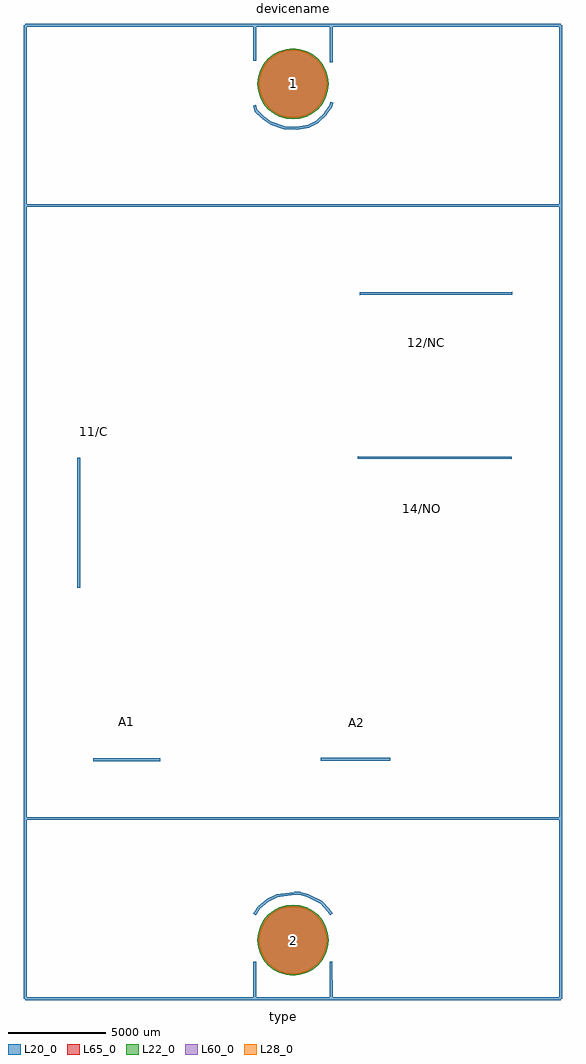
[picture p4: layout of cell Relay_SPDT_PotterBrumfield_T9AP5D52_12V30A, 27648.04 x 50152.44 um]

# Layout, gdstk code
import gdstk
lib = gdstk.Library(unit=1e-6, precision=1e-09)
def P(c, l, *ps):  # polygons
    for p in ps: c.add(gdstk.Polygon(p, *l))
L20_0 = (20, 0)
L22_0 = (22, 0)
L28_0 = (28, 0)
L60_0 = (60, 0)
L65_0 = (65, 0)

relay_spdt_potterbrumfie = lib.new_cell('Relay_SPDT_PotterBrumfield_T9AP5D52_12V30A')
P(relay_spdt_potterbrumfie, L22_0, [(1825.06,-21998.94),(1789.992,-21642.888),(1686.136,-21300.52),(1517.482,-20984.991),(1290.512,-20708.428),(1013.949,-20481.458),(698.42,-20312.804),(356.052,-20208.948),(0,-20173.88),(-356.052,-20208.948),(-698.42,-20312.804),(-1013.949,-20481.458),(-1290.512,-20708.428),(-1517.482,-20984.991),(-1686.136,-21300.52),(-1789.992,-21642.888),(-1825.06,-21998.94),(-1789.992,-22354.992),(-1686.136,-22697.36),(-1517.482,-23012.889),(-1290.512,-23289.452),(-1013.949,-23516.422),(-698.42,-23685.076),(-356.052,-23788.932),(0,-23824),(356.052,-23788.932),(698.42,-23685.076),(1013.949,-23516.422),(1290.512,-23289.452),(1517.482,-23012.889),(1686.136,-22697.36),(1789.992,-22354.992)],
  [(1825.06,21998.94),(1789.992,22354.992),(1686.136,22697.36),(1517.482,23012.889),(1290.512,23289.452),(1013.949,23516.422),(698.42,23685.076),(356.052,23788.932),(0,23824),(-356.052,23788.932),(-698.42,23685.076),(-1013.949,23516.422),(-1290.512,23289.452),(-1517.482,23012.889),(-1686.136,22697.36),(-1789.992,22354.992),(-1825.06,21998.94),(-1789.992,21642.888),(-1686.136,21300.52),(-1517.482,20984.991),(-1290.512,20708.428),(-1013.949,20481.458),(-698.42,20312.804),(-356.052,20208.948),(0,20173.88),(356.052,20208.948),(698.42,20312.804),(1013.949,20481.458),(1290.512,20708.428),(1517.482,20984.991),(1686.136,21300.52),(1789.992,21642.888)])
P(relay_spdt_potterbrumfie, L28_0, [(1750.06,-21998.94),(1716.433,-21657.52),(1616.845,-21329.221),(1455.122,-21026.659),(1237.479,-20761.461),(972.281,-20543.818),(669.719,-20382.095),(341.42,-20282.507),(0,-20248.88),(-341.42,-20282.507),(-669.719,-20382.095),(-972.281,-20543.818),(-1237.479,-20761.461),(-1455.122,-21026.659),(-1616.845,-21329.221),(-1716.433,-21657.52),(-1750.06,-21998.94),(-1716.433,-22340.36),(-1616.845,-22668.659),(-1455.122,-22971.221),(-1237.479,-23236.419),(-972.281,-23454.062),(-669.719,-23615.785),(-341.42,-23715.373),(0,-23749),(341.42,-23715.373),(669.719,-23615.785),(972.281,-23454.062),(1237.479,-23236.419),(1455.122,-22971.221),(1616.845,-22668.659),(1716.433,-22340.36)],
  [(1750.06,21998.94),(1716.433,22340.36),(1616.845,22668.659),(1455.122,22971.221),(1237.479,23236.419),(972.281,23454.062),(669.719,23615.785),(341.42,23715.373),(0,23749),(-341.42,23715.373),(-669.719,23615.785),(-972.281,23454.062),(-1237.479,23236.419),(-1455.122,22971.221),(-1616.845,22668.659),(-1716.433,22340.36),(-1750.06,21998.94),(-1716.433,21657.52),(-1616.845,21329.221),(-1455.122,21026.659),(-1237.479,20761.461),(-972.281,20543.818),(-669.719,20382.095),(-341.42,20282.507),(0,20248.88),(341.42,20282.507),(669.719,20382.095),(972.281,20543.818),(1237.479,20761.461),(1455.122,21026.659),(1616.845,21329.221),(1716.433,21657.52)])
P(relay_spdt_potterbrumfie, L60_0, [(1750.06,-21998.94),(1716.433,-21657.52),(1616.845,-21329.221),(1455.122,-21026.659),(1237.479,-20761.461),(972.281,-20543.818),(669.719,-20382.095),(341.42,-20282.507),(0,-20248.88),(-341.42,-20282.507),(-669.719,-20382.095),(-972.281,-20543.818),(-1237.479,-20761.461),(-1455.122,-21026.659),(-1616.845,-21329.221),(-1716.433,-21657.52),(-1750.06,-21998.94),(-1716.433,-22340.36),(-1616.845,-22668.659),(-1455.122,-22971.221),(-1237.479,-23236.419),(-972.281,-23454.062),(-669.719,-23615.785),(-341.42,-23715.373),(0,-23749),(341.42,-23715.373),(669.719,-23615.785),(972.281,-23454.062),(1237.479,-23236.419),(1455.122,-22971.221),(1616.845,-22668.659),(1716.433,-22340.36)],
  [(1750.06,21998.94),(1716.433,22340.36),(1616.845,22668.659),(1455.122,22971.221),(1237.479,23236.419),(972.281,23454.062),(669.719,23615.785),(341.42,23715.373),(0,23749),(-341.42,23715.373),(-669.719,23615.785),(-972.281,23454.062),(-1237.479,23236.419),(-1455.122,22971.221),(-1616.845,22668.659),(-1716.433,22340.36),(-1750.06,21998.94),(-1716.433,21657.52),(-1616.845,21329.221),(-1455.122,21026.659),(-1237.479,20761.461),(-972.281,20543.818),(-669.719,20382.095),(-341.42,20282.507),(0,20248.88),(341.42,20282.507),(669.719,20382.095),(972.281,20543.818),(1237.479,20761.461),(1455.122,21026.659),(1616.845,21329.221),(1716.433,21657.52)])
P(relay_spdt_potterbrumfie, L65_0, [(1825.06,-21998.94),(1789.992,-21642.888),(1686.136,-21300.52),(1517.482,-20984.991),(1290.512,-20708.428),(1013.949,-20481.458),(698.42,-20312.804),(356.052,-20208.948),(0,-20173.88),(-356.052,-20208.948),(-698.42,-20312.804),(-1013.949,-20481.458),(-1290.512,-20708.428),(-1517.482,-20984.991),(-1686.136,-21300.52),(-1789.992,-21642.888),(-1825.06,-21998.94),(-1789.992,-22354.992),(-1686.136,-22697.36),(-1517.482,-23012.889),(-1290.512,-23289.452),(-1013.949,-23516.422),(-698.42,-23685.076),(-356.052,-23788.932),(0,-23824),(356.052,-23788.932),(698.42,-23685.076),(1013.949,-23516.422),(1290.512,-23289.452),(1517.482,-23012.889),(1686.136,-22697.36),(1789.992,-22354.992)],
  [(1825.06,21998.94),(1789.992,22354.992),(1686.136,22697.36),(1517.482,23012.889),(1290.512,23289.452),(1013.949,23516.422),(698.42,23685.076),(356.052,23788.932),(0,23824),(-356.052,23788.932),(-698.42,23685.076),(-1013.949,23516.422),(-1290.512,23289.452),(-1517.482,23012.889),(-1686.136,22697.36),(-1789.992,22354.992),(-1825.06,21998.94),(-1789.992,21642.888),(-1686.136,21300.52),(-1517.482,20984.991),(-1290.512,20708.428),(-1013.949,20481.458),(-698.42,20312.804),(-356.052,20208.948),(0,20173.88),(356.052,20208.948),(698.42,20312.804),(1013.949,20481.458),(1290.512,20708.428),(1517.482,20984.991),(1686.136,21300.52),(1789.992,21642.888)])
relay_spdt_potterbrumfie.add(gdstk.FlexPath([(13749.02,-25001.22),(13749.02,0)], 149.998, ends="flush", simple_path=True, layer=20, datatype=0))  # L20_0
relay_spdt_potterbrumfie.add(gdstk.FlexPath([(-13749.02,-25001.22),(13749.02,-25001.22)], 149.998, ends="flush", simple_path=True, layer=20, datatype=0))  # L20_0
relay_spdt_potterbrumfie.add(gdstk.FlexPath([(-13749.02,25001.22),(-13749.02,-25001.22)], 149.998, ends="flush", simple_path=True, layer=20, datatype=0))  # L20_0
relay_spdt_potterbrumfie.add(gdstk.FlexPath([(13749.02,25001.22),(-13749.02,25001.22)], 149.998, ends="flush", simple_path=True, layer=20, datatype=0))  # L20_0
relay_spdt_potterbrumfie.add(gdstk.FlexPath([(13749.02,0),(13749.02,25001.22)], 149.998, ends="flush", simple_path=True, layer=20, datatype=0))  # L20_0
relay_spdt_potterbrumfie.add(gdstk.FlexPath([(-13749.02,15750.54),(13749.02,15750.54)], 149.998, ends="flush", simple_path=True, layer=20, datatype=0))  # L20_0
relay_spdt_potterbrumfie.add(gdstk.FlexPath([(13749.02,-15750.54),(-13749.02,-15750.54)], 149.998, ends="flush", simple_path=True, layer=20, datatype=0))  # L20_0
relay_spdt_potterbrumfie.add(gdstk.FlexPath([(1950.72,-23098.76),(1976.12,-24975.82)], 149.998, ends="flush", simple_path=True, layer=20, datatype=0))  # L20_0
relay_spdt_potterbrumfie.add(gdstk.FlexPath([(-1976.12,-23098.76),(-1976.12,-25001.22)], 149.998, ends="flush", simple_path=True, layer=20, datatype=0))  # L20_0
relay_spdt_potterbrumfie.add(gdstk.FlexPath([(-1750.06,-20325.08),(-1976.12,-20675.6)], 149.998, ends="flush", simple_path=True, layer=20, datatype=0))  # L20_0
relay_spdt_potterbrumfie.add(gdstk.FlexPath([(-1300.48,-19949.16),(-1750.06,-20325.08)], 149.998, ends="flush", simple_path=True, layer=20, datatype=0))  # L20_0
relay_spdt_potterbrumfie.add(gdstk.FlexPath([(-850.9,-19725.64),(-1300.48,-19949.16)], 149.998, ends="flush", simple_path=True, layer=20, datatype=0))  # L20_0
relay_spdt_potterbrumfie.add(gdstk.FlexPath([(76.2,-19601.18),(-850.9,-19725.64)], 149.998, ends="flush", simple_path=True, layer=20, datatype=0))  # L20_0
relay_spdt_potterbrumfie.add(gdstk.FlexPath([(375.92,-19601.18),(76.2,-19601.18)], 149.998, ends="flush", simple_path=True, layer=20, datatype=0))  # L20_0
relay_spdt_potterbrumfie.add(gdstk.FlexPath([(800.1,-19725.64),(375.92,-19601.18)], 149.998, ends="flush", simple_path=True, layer=20, datatype=0))  # L20_0
relay_spdt_potterbrumfie.add(gdstk.FlexPath([(1450.34,-20050.76),(800.1,-19725.64)], 149.998, ends="flush", simple_path=True, layer=20, datatype=0))  # L20_0
relay_spdt_potterbrumfie.add(gdstk.FlexPath([(1826.26,-20474.94),(1450.34,-20050.76)], 149.998, ends="flush", simple_path=True, layer=20, datatype=0))  # L20_0
relay_spdt_potterbrumfie.add(gdstk.FlexPath([(1976.12,-20675.6),(1826.26,-20474.94)], 149.998, ends="flush", simple_path=True, layer=20, datatype=0))  # L20_0
relay_spdt_potterbrumfie.add(gdstk.FlexPath([(-1976.12,23200.36),(-1976.12,25001.22)], 149.998, ends="flush", simple_path=True, layer=20, datatype=0))  # L20_0
relay_spdt_potterbrumfie.add(gdstk.FlexPath([(1976.12,23098.76),(1976.12,25001.22)], 149.998, ends="flush", simple_path=True, layer=20, datatype=0))  # L20_0
relay_spdt_potterbrumfie.add(gdstk.FlexPath([(1950.72,20876.26),(1998.98,21048.98)], 149.998, ends="flush", simple_path=True, layer=20, datatype=0))  # L20_0
relay_spdt_potterbrumfie.add(gdstk.FlexPath([(1673.86,20474.94),(1950.72,20876.26)], 149.998, ends="flush", simple_path=True, layer=20, datatype=0))  # L20_0
relay_spdt_potterbrumfie.add(gdstk.FlexPath([(1275.08,20076.16),(1673.86,20474.94)], 149.998, ends="flush", simple_path=True, layer=20, datatype=0))  # L20_0
relay_spdt_potterbrumfie.add(gdstk.FlexPath([(825.5,19824.7),(1275.08,20076.16)], 149.998, ends="flush", simple_path=True, layer=20, datatype=0))  # L20_0
relay_spdt_potterbrumfie.add(gdstk.FlexPath([(200.66,19725.64),(825.5,19824.7)], 149.998, ends="flush", simple_path=True, layer=20, datatype=0))  # L20_0
relay_spdt_potterbrumfie.add(gdstk.FlexPath([(-449.58,19751.04),(200.66,19725.64)], 149.998, ends="flush", simple_path=True, layer=20, datatype=0))  # L20_0
relay_spdt_potterbrumfie.add(gdstk.FlexPath([(-1125.22,19974.56),(-449.58,19751.04)], 149.998, ends="flush", simple_path=True, layer=20, datatype=0))  # L20_0
relay_spdt_potterbrumfie.add(gdstk.FlexPath([(-1549.4,20274.28),(-1125.22,19974.56)], 149.998, ends="flush", simple_path=True, layer=20, datatype=0))  # L20_0
relay_spdt_potterbrumfie.add(gdstk.FlexPath([(-1899.92,20624.8),(-1549.4,20274.28)], 149.998, ends="flush", simple_path=True, layer=20, datatype=0))  # L20_0
relay_spdt_potterbrumfie.add(gdstk.FlexPath([(-1976.12,20899.12),(-1899.92,20624.8)], 149.998, ends="flush", simple_path=True, layer=20, datatype=0))  # L20_0
relay_spdt_potterbrumfie.add(gdstk.FlexPath([(1424.94,-12700),(5001.26,-12700)], 149.998, ends="flush", simple_path=True, layer=20, datatype=0))  # L20_0
relay_spdt_potterbrumfie.add(gdstk.FlexPath([(-11000.74,2776.22),(-11000.74,-3898.9)], 149.998, ends="flush", simple_path=True, layer=20, datatype=0))  # L20_0
relay_spdt_potterbrumfie.add(gdstk.FlexPath([(3350.26,2799.08),(3324.86,2799.08)], 149.998, ends="flush", simple_path=True, layer=20, datatype=0))  # L20_0
relay_spdt_potterbrumfie.add(gdstk.FlexPath([(11249.66,2776.22),(3350.26,2799.08)], 149.998, ends="flush", simple_path=True, layer=20, datatype=0))  # L20_0
relay_spdt_potterbrumfie.add(gdstk.FlexPath([(11275.06,11249.66),(3423.92,11224.26)], 149.998, ends="flush", simple_path=True, layer=20, datatype=0))  # L20_0
relay_spdt_potterbrumfie.add(gdstk.FlexPath([(-6824.98,-12725.4),(-10274.3,-12725.4)], 149.998, ends="flush", simple_path=True, layer=20, datatype=0))  # L20_0
relay_spdt_potterbrumfie.add(gdstk.Label('2', (0,-21998.94), layer=28, texttype=0))
relay_spdt_potterbrumfie.add(gdstk.Label('1', (0,21998.94), layer=28, texttype=0))
relay_spdt_potterbrumfie.add(gdstk.Label('12/NC', (6850.38,8724.9), layer=9, texttype=0))
relay_spdt_potterbrumfie.add(gdstk.Label('14/NO', (6598.92,200.66), layer=9, texttype=0))
relay_spdt_potterbrumfie.add(gdstk.Label('11/C', (-10274.3,4150.36), layer=9, texttype=0))
relay_spdt_potterbrumfie.add(gdstk.Label('A1', (-8575.04,-10749.28), layer=9, texttype=0))
relay_spdt_potterbrumfie.add(gdstk.Label('A2', (3251.2,-10800.08), layer=9, texttype=0))
relay_spdt_potterbrumfie.add(gdstk.Label('type', (-508,-26162), layer=9, texttype=0))
relay_spdt_potterbrumfie.add(gdstk.Label('devicename', (0,26162), layer=9, texttype=0))

lib.write_gds('Relay_SPDT_PotterBrumfield_T9AP5D52_12V30A.gds')
